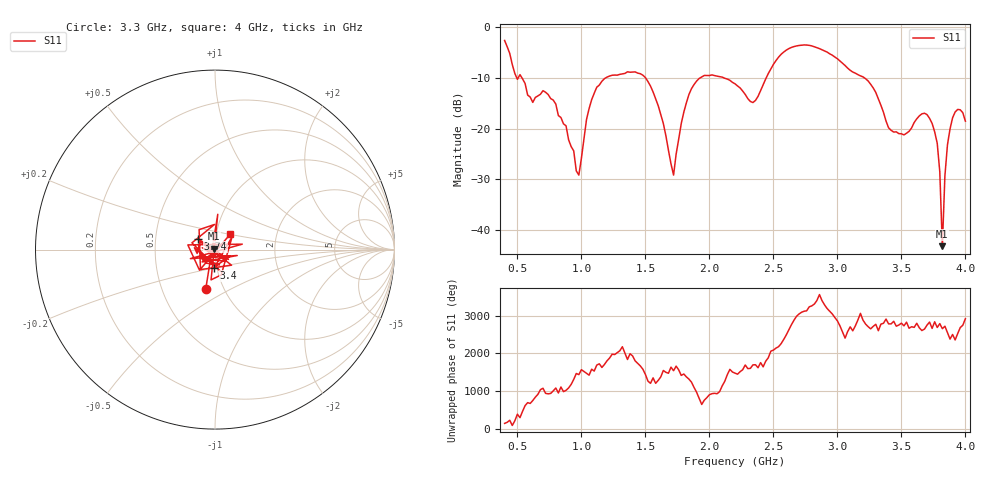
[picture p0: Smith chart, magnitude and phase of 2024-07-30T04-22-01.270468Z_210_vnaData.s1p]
!Created with skrf (http://scikit-rf.org).
# Hz S RI R 50.0
!freq ReS11 ImS11
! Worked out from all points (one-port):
!   181 points, 400 MHz to 4 GHz, reference 50 ohm
!   lowest |S11| = -43.2 dB at 3.82 GHz (marker M1), VSWR 1.01, Z = 49.5 + j0.436 ohm
!   |S11| at or under -10 dB: 536.3 MHz to 1.187 GHz (651.2 MHz wide, 75.5 % of centre); 1.503 GHz to 1.925 GHz (422.8 MHz wide, 24.7 % of centre); 3.213 GHz to end of sweep (the widest 3 of 5)
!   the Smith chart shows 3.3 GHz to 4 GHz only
!   S11 on the Smith chart (normalised r, x): 3.3 GHz: 0.82, -0.38; 3.4 GHz: 0.97, -0.20; 3.74 GHz: 0.82, +0.10; 4 GHz: 1.16, +0.20
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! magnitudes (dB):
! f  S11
! 400 MHz  -2.6
! 620 MHz  -14.8
! 720 MHz  -12.8
! 860 MHz  -19.0
! 980 MHz  -29.2
! 1.04 GHz  -18.2
! 1.1 GHz  -13.0
! 1.3 GHz  -9.3
! 1.54 GHz  -11.6
! 1.72 GHz  -29.2
! 1.76 GHz  -22.1
! 1.84 GHz  -13.3
! 1.92 GHz  -10.1
! 2.2 GHz  -11.1
! 2.34 GHz  -14.8
! 2.66 GHz  -3.8
! 3.1 GHz  -8.5
! 3.3 GHz  -12.8
! 3.4 GHz  -19.8
! 3.56 GHz  -20.5
! 3.66 GHz  -17.1
! 3.74 GHz  -19.0
! 3.8 GHz  -28.5
! 3.82 GHz  -43.2
! 3.84 GHz  -29.3
! 3.88 GHz  -20.1
! 3.94 GHz  -16.2
! 4 GHz  -18.5
